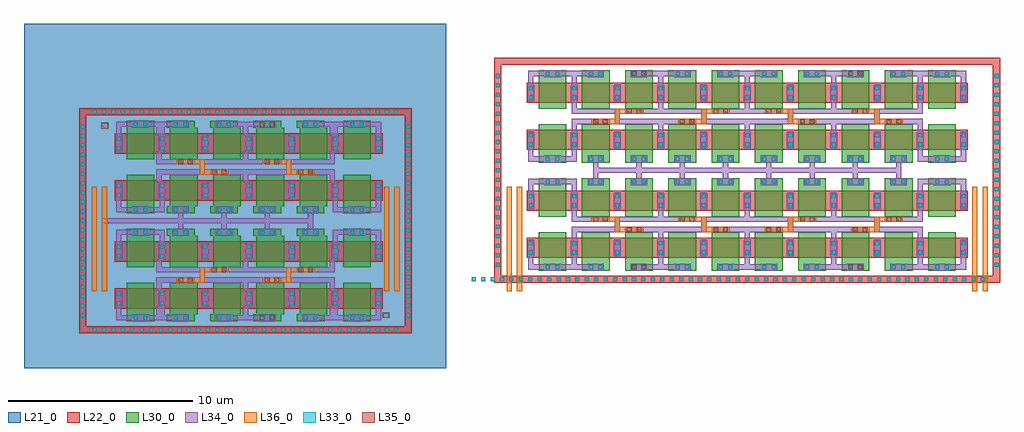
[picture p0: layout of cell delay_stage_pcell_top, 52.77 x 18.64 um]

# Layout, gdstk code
from math import pi, radians
import gdstk
lib = gdstk.Library(unit=1e-6, precision=5e-09)
def R(c, l, rs):  # rectangles x0, y0, x1, y1
    for r in rs: c.add(gdstk.rectangle(r[:2], r[2:], *l))
def A(c, l, x, y, w, h, nx, ny, dx, dy):  # array of equal rectangles
    R(c, l, [(x+i*dx, y+j*dy, x+i*dx+w, y+j*dy+h) for i in range(nx) for j in range(ny)])
L21_0 = (21, 0)
L22_0 = (22, 0)
L30_0 = (30, 0)
L33_0 = (33, 0)
L34_0 = (34, 0)
L35_0 = (35, 0)
L36_0 = (36, 0)

delay_stage_pcell_1_2 = lib.new_cell('delay_stage_pcell_1$2')
R(delay_stage_pcell_1_2, L22_0, [(0.17,0.3,0.63,1.4), (0.63,0.3,2.51,1.4), (2.51,0.3,2.97,1.4)])
R(delay_stage_pcell_1_2, L30_0, [(0.82,0,2.32,1.7)])
R(delay_stage_pcell_1_2, L33_0, [(0.29,0.485,0.51,0.705), (2.63,0.485,2.85,0.705), (0.29,0.995,0.51,1.215), (2.63,0.995,2.85,1.215)])
R(delay_stage_pcell_1_2, L34_0, [(0.21,0.405,0.59,1.295), (2.55,0.405,2.93,1.295)])

delay_stage_pcell_4 = lib.new_cell('delay_stage_pcell_4')
delay_stage_pcell_4.add(gdstk.Reference(delay_stage_pcell_1_2, (-0.17,0)))
delay_stage_pcell_4.add(gdstk.Reference(delay_stage_pcell_1_2, (2.17,0)))
delay_stage_pcell_4.add(gdstk.Reference(delay_stage_pcell_1_2, (4.51,0)))
delay_stage_pcell_4.add(gdstk.Reference(delay_stage_pcell_1_2, (6.85,0)))

delay_stage_pcell_1_1 = lib.new_cell('delay_stage_pcell_1$1')
R(delay_stage_pcell_1_1, L22_0, [(0.17,0.3,0.63,1.4), (0.63,0.3,2.51,1.4), (2.51,0.3,2.97,1.4)])
R(delay_stage_pcell_1_1, L30_0, [(0.82,0,2.32,1.7)])
R(delay_stage_pcell_1_1, L33_0, [(0.29,0.485,0.51,0.705), (2.63,0.485,2.85,0.705), (0.29,0.995,0.51,1.215), (2.63,0.995,2.85,1.215)])
R(delay_stage_pcell_1_1, L34_0, [(0.21,0.405,0.59,1.295), (2.55,0.405,2.93,1.295)])

delay_stage_pcell_1_4 = lib.new_cell('delay_stage_pcell_1_4')
R(delay_stage_pcell_1_4, L30_0, [(0.65,0,2.15,0.38), (0.65,4.62,2.15,5), (0.65,5.84,2.15,6.22), (0.65,10.46,2.15,10.84)])
R(delay_stage_pcell_1_4, L33_0, [(1.035,0.08,1.255,0.3), (1.545,0.08,1.765,0.3), (1.035,4.7,1.255,4.92), (1.545,4.7,1.765,4.92), (1.035,5.92,1.255,6.14), (1.545,5.92,1.765,6.14), (1.035,10.54,1.255,10.76), (1.545,10.54,1.765,10.76)])
R(delay_stage_pcell_1_4, L34_0, [(0.955,0,1.845,0.38), (0.955,4.62,1.845,5), (0.955,5.84,1.845,6.22), (0.955,10.46,1.845,10.84)])
delay_stage_pcell_1_4.add(gdstk.FlexPath([(2.57,10.055),(2.57,10.65),(0.23,10.65),(0.23,10.055)], 0.28, ends="flush", simple_path=True, layer=34, datatype=0))  # L34_0
delay_stage_pcell_1_4.add(gdstk.FlexPath([(2.57,0.785),(2.57,0.19),(0.23,0.19),(0.23,0.785)], 0.28, ends="flush", simple_path=True, layer=34, datatype=0))  # L34_0
delay_stage_pcell_1_4.add(gdstk.FlexPath([(2.57,6.625),(2.57,6.03),(0.23,6.03),(0.23,6.625)], 0.28, ends="flush", simple_path=True, layer=34, datatype=0))  # L34_0
delay_stage_pcell_1_4.add(gdstk.FlexPath([(2.57,4.215),(2.57,4.81),(0.23,4.81),(0.23,4.215)], 0.28, ends="flush", simple_path=True, layer=34, datatype=0))  # L34_0
delay_stage_pcell_1_4.add(gdstk.Reference(delay_stage_pcell_1_1, (-0.17,6.22)))
delay_stage_pcell_1_4.add(gdstk.Reference(delay_stage_pcell_1_1, (-0.17,0.38)))
delay_stage_pcell_1_4.add(gdstk.Reference(delay_stage_pcell_1_1, (-0.17,2.92)))
delay_stage_pcell_1_4.add(gdstk.Reference(delay_stage_pcell_1_1, (-0.17,8.76)))

delay_stage_pcell_1_2_1 = lib.new_cell('delay_stage_pcell_1$2$1')
R(delay_stage_pcell_1_2_1, L22_0, [(0.17,0.3,0.63,1.4), (0.63,0.3,2.51,1.4), (2.51,0.3,2.97,1.4)])
R(delay_stage_pcell_1_2_1, L30_0, [(0.82,0,2.32,1.7)])
R(delay_stage_pcell_1_2_1, L33_0, [(0.29,0.485,0.51,0.705), (2.63,0.485,2.85,0.705), (0.29,0.995,0.51,1.215), (2.63,0.995,2.85,1.215)])
R(delay_stage_pcell_1_2_1, L34_0, [(0.21,0.405,0.59,1.295), (2.55,0.405,2.93,1.295)])

delay_stage_pcell_4_2 = lib.new_cell('delay_stage_pcell_4$2')
delay_stage_pcell_4_2.add(gdstk.Reference(delay_stage_pcell_1_2_1, (-0.17,0)))
delay_stage_pcell_4_2.add(gdstk.Reference(delay_stage_pcell_1_2_1, (2.17,0)))
delay_stage_pcell_4_2.add(gdstk.Reference(delay_stage_pcell_1_2_1, (4.51,0)))
delay_stage_pcell_4_2.add(gdstk.Reference(delay_stage_pcell_1_2_1, (6.85,0)))

delay_stage_pcell_4_4 = lib.new_cell('delay_stage_pcell_4_4')
R(delay_stage_pcell_4_4, L30_0, [(0.65,0,2.15,0.38), (0.65,0,2.15,0.38), (2.99,0,4.49,0.38), (2.99,0,4.49,0.38), (5.33,0,6.83,0.38), (5.33,0,6.83,0.38), (7.67,0,9.17,0.38), (7.67,0,9.17,0.38), (0.65,4.62,2.15,5), (0.65,4.62,2.15,5), (2.99,4.62,4.49,5), (2.99,4.62,4.49,5), (5.33,4.62,6.83,5), (5.33,4.62,6.83,5), (7.67,4.62,9.17,5), (7.67,4.62,9.17,5), (0.65,5.84,2.15,6.22), (0.65,5.84,2.15,6.22), (2.99,5.84,4.49,6.22), (2.99,5.84,4.49,6.22), (5.33,5.84,6.83,6.22), (5.33,5.84,6.83,6.22), (7.67,5.84,9.17,6.22), (7.67,5.84,9.17,6.22), (0.65,10.46,2.15,10.84), (0.65,10.46,2.15,10.84), (2.99,10.46,4.49,10.84), (2.99,10.46,4.49,10.84), (5.33,10.46,6.83,10.84), (5.33,10.46,6.83,10.84), (7.67,10.46,9.17,10.84), (7.67,10.46,9.17,10.84)])
R(delay_stage_pcell_4_4, L33_0, [(1.035,0.08,1.255,0.3), (1.035,0.08,1.255,0.3), (1.545,0.08,1.765,0.3), (1.545,0.08,1.765,0.3), (3.375,0.08,3.595,0.3), (3.375,0.08,3.595,0.3), (3.885,0.08,4.105,0.3), (3.885,0.08,4.105,0.3), (5.715,0.08,5.935,0.3), (5.715,0.08,5.935,0.3), (6.225,0.08,6.445,0.3), (6.225,0.08,6.445,0.3), (8.055,0.08,8.275,0.3), (8.055,0.08,8.275,0.3), (8.565,0.08,8.785,0.3), (8.565,0.08,8.785,0.3), (1.035,4.7,1.255,4.92), (1.035,4.7,1.255,4.92), (1.545,4.7,1.765,4.92), (1.545,4.7,1.765,4.92), (3.375,4.7,3.595,4.92), (3.375,4.7,3.595,4.92), (3.885,4.7,4.105,4.92), (3.885,4.7,4.105,4.92), (5.715,4.7,5.935,4.92), (5.715,4.7,5.935,4.92), (6.225,4.7,6.445,4.92), (6.225,4.7,6.445,4.92), (8.055,4.7,8.275,4.92), (8.055,4.7,8.275,4.92), (8.565,4.7,8.785,4.92), (8.565,4.7,8.785,4.92), (1.035,5.92,1.255,6.14), (1.035,5.92,1.255,6.14), (1.545,5.92,1.765,6.14), (1.545,5.92,1.765,6.14), (3.375,5.92,3.595,6.14), (3.375,5.92,3.595,6.14), (3.885,5.92,4.105,6.14), (3.885,5.92,4.105,6.14), (5.715,5.92,5.935,6.14), (5.715,5.92,5.935,6.14), (6.225,5.92,6.445,6.14), (6.225,5.92,6.445,6.14), (8.055,5.92,8.275,6.14), (8.055,5.92,8.275,6.14), (8.565,5.92,8.785,6.14), (8.565,5.92,8.785,6.14), (1.035,10.54,1.255,10.76), (1.035,10.54,1.255,10.76), (1.545,10.54,1.765,10.76), (1.545,10.54,1.765,10.76), (3.375,10.54,3.595,10.76), (3.375,10.54,3.595,10.76), (3.885,10.54,4.105,10.76), (3.885,10.54,4.105,10.76), (5.715,10.54,5.935,10.76), (5.715,10.54,5.935,10.76), (6.225,10.54,6.445,10.76), (6.225,10.54,6.445,10.76), (8.055,10.54,8.275,10.76), (8.055,10.54,8.275,10.76), (8.565,10.54,8.785,10.76), (8.565,10.54,8.785,10.76)])
R(delay_stage_pcell_4_4, L34_0, [(0.955,0,1.845,0.38), (3.295,0,4.185,0.38), (3.295,0,4.185,0.38), (5.635,0,6.525,0.38), (5.635,0,6.525,0.38), (7.975,0,8.865,0.38), (0.955,4.62,1.845,5), (0.955,4.62,1.845,5), (3.295,4.62,4.185,5), (3.295,4.62,4.185,5), (5.635,4.62,6.525,5), (5.635,4.62,6.525,5), (7.975,4.62,8.865,5), (0.955,5.84,1.845,6.22), (0.955,5.84,1.845,6.22), (3.295,5.84,4.185,6.22), (3.295,5.84,4.185,6.22), (5.635,5.84,6.525,6.22), (5.635,5.84,6.525,6.22), (7.975,5.84,8.865,6.22), (7.975,5.84,8.865,6.22), (0.955,10.46,1.845,10.84), (3.295,10.46,4.185,10.84), (3.295,10.46,4.185,10.84), (5.635,10.46,6.525,10.84), (5.635,10.46,6.525,10.84), (7.975,10.46,8.865,10.84)])
R(delay_stage_pcell_4_4, L35_0, [(5.69,0.06,5.95,0.32), (5.69,0.06,5.95,0.32), (6.21,0.06,6.47,0.32), (6.21,0.06,6.47,0.32), (1.27,2.09,1.53,2.35), (1.27,2.09,1.53,2.35), (1.79,2.09,2.05,2.35), (1.79,2.09,2.05,2.35), (5.95,2.09,6.21,2.35), (5.95,2.09,6.21,2.35), (6.47,2.09,6.73,2.35), (6.47,2.09,6.73,2.35), (3.09,2.65,3.35,2.91), (3.09,2.65,3.35,2.91), (3.61,2.65,3.87,2.91), (3.61,2.65,3.87,2.91), (7.77,2.65,8.03,2.91), (7.77,2.65,8.03,2.91), (8.29,2.65,8.55,2.91), (8.29,2.65,8.55,2.91), (3.09,7.93,3.35,8.19), (3.09,7.93,3.35,8.19), (3.61,7.93,3.87,8.19), (3.61,7.93,3.87,8.19), (7.77,7.93,8.03,8.19), (7.77,7.93,8.03,8.19), (8.29,7.93,8.55,8.19), (8.29,7.93,8.55,8.19), (1.27,8.49,1.53,8.75), (1.27,8.49,1.53,8.75), (1.79,8.49,2.05,8.75), (1.79,8.49,2.05,8.75), (5.95,8.49,6.21,8.75), (5.95,8.49,6.21,8.75), (6.47,8.49,6.73,8.75), (6.47,8.49,6.73,8.75), (5.69,10.52,5.95,10.78), (5.69,10.52,5.95,10.78), (6.21,10.52,6.47,10.78), (6.21,10.52,6.47,10.78)])
delay_stage_pcell_4_4.add(gdstk.FlexPath([(8.56,5.42),(0.23,5.42)], 0.28, ends="flush", simple_path=True, layer=34, datatype=0))  # L34_0
delay_stage_pcell_4_4.add(gdstk.FlexPath([(4.185,10.65),(5.635,10.65)], 0.28, ends="flush", simple_path=True, layer=34, datatype=0))  # L34_0
delay_stage_pcell_4_4.add(gdstk.FlexPath([(4.91,10.055),(4.91,10.51)], 0.28, ends="flush", simple_path=True, layer=34, datatype=0))  # L34_0
delay_stage_pcell_4_4.add(gdstk.FlexPath([(0.955,10.65),(0.23,10.65),(0.23,10.055)], 0.28, ends="flush", simple_path=True, layer=34, datatype=0))  # L34_0
delay_stage_pcell_4_4.add(gdstk.FlexPath([(8.865,10.65),(9.59,10.65),(9.59,10.055)], 0.28, ends="flush", simple_path=True, layer=34, datatype=0))  # L34_0
delay_stage_pcell_4_4.add(gdstk.FlexPath([(4.185,0.19),(5.635,0.19)], 0.28, ends="flush", simple_path=True, layer=34, datatype=0))  # L34_0
delay_stage_pcell_4_4.add(gdstk.FlexPath([(4.91,0.785),(4.91,0.33)], 0.28, ends="flush", simple_path=True, layer=34, datatype=0))  # L34_0
delay_stage_pcell_4_4.add(gdstk.FlexPath([(0.955,0.19),(0.23,0.19),(0.23,0.785)], 0.28, ends="flush", simple_path=True, layer=34, datatype=0))  # L34_0
delay_stage_pcell_4_4.add(gdstk.FlexPath([(8.865,0.19),(9.59,0.19),(9.59,0.785)], 0.28, ends="flush", simple_path=True, layer=34, datatype=0))  # L34_0
delay_stage_pcell_4_4.add(gdstk.FlexPath([(9.59,1.675),(9.59,2.22),(8.65,2.22)], 0.28, ends="flush", simple_path=True, layer=34, datatype=0))  # L34_0
delay_stage_pcell_4_4.add(gdstk.FlexPath([(9.59,1.675),(9.59,2.22),(8.65,2.22)], 0.28, ends="flush", simple_path=True, layer=34, datatype=0))  # L34_0
delay_stage_pcell_4_4.add(gdstk.FlexPath([(4.91,1.675),(4.91,2.08)], 0.28, ends="flush", simple_path=True, layer=34, datatype=0))  # L34_0
delay_stage_pcell_4_4.add(gdstk.FlexPath([(4.91,1.675),(4.91,2.08)], 0.28, ends="flush", simple_path=True, layer=34, datatype=0))  # L34_0
delay_stage_pcell_4_4.add(gdstk.FlexPath([(0.23,1.675),(0.23,2.22),(1.17,2.22)], 0.28, ends="flush", simple_path=True, layer=34, datatype=0))  # L34_0
delay_stage_pcell_4_4.add(gdstk.FlexPath([(0.23,1.675),(0.23,2.22),(1.17,2.22)], 0.28, ends="flush", simple_path=True, layer=34, datatype=0))  # L34_0
delay_stage_pcell_4_4.add(gdstk.FlexPath([(8.65,2.22),(7.25,2.22),(7.25,2.78),(5.85,2.78)], 0.28, ends="flush", simple_path=True, layer=34, datatype=0))  # L34_0
delay_stage_pcell_4_4.add(gdstk.FlexPath([(8.65,2.22),(7.25,2.22),(7.25,2.78),(5.85,2.78)], 0.28, ends="flush", simple_path=True, layer=34, datatype=0))  # L34_0
delay_stage_pcell_4_4.add(gdstk.FlexPath([(6.83,2.22),(5.85,2.22)], 0.28, ends="flush", simple_path=True, layer=34, datatype=0))  # L34_0
delay_stage_pcell_4_4.add(gdstk.FlexPath([(6.83,2.22),(5.85,2.22)], 0.28, ends="flush", simple_path=True, layer=34, datatype=0))  # L34_0
delay_stage_pcell_4_4.add(gdstk.FlexPath([(3.97,2.22),(5.85,2.22)], 0.28, ends="flush", simple_path=True, layer=34, datatype=0))  # L34_0
delay_stage_pcell_4_4.add(gdstk.FlexPath([(3.97,2.22),(5.85,2.22)], 0.28, ends="flush", simple_path=True, layer=34, datatype=0))  # L34_0
delay_stage_pcell_4_4.add(gdstk.FlexPath([(3.97,2.22),(2.57,2.22),(2.57,2.78),(1.17,2.78)], 0.28, ends="flush", simple_path=True, layer=34, datatype=0))  # L34_0
delay_stage_pcell_4_4.add(gdstk.FlexPath([(3.97,2.22),(2.57,2.22),(2.57,2.78),(1.17,2.78)], 0.28, ends="flush", simple_path=True, layer=34, datatype=0))  # L34_0
delay_stage_pcell_4_4.add(gdstk.FlexPath([(2.15,2.22),(1.17,2.22)], 0.28, ends="flush", simple_path=True, layer=34, datatype=0))  # L34_0
delay_stage_pcell_4_4.add(gdstk.FlexPath([(2.15,2.22),(1.17,2.22)], 0.28, ends="flush", simple_path=True, layer=34, datatype=0))  # L34_0
delay_stage_pcell_4_4.add(gdstk.FlexPath([(8.65,2.78),(7.67,2.78)], 0.28, ends="flush", simple_path=True, layer=34, datatype=0))  # L34_0
delay_stage_pcell_4_4.add(gdstk.FlexPath([(8.65,2.78),(7.67,2.78)], 0.28, ends="flush", simple_path=True, layer=34, datatype=0))  # L34_0
delay_stage_pcell_4_4.add(gdstk.FlexPath([(3.97,2.78),(5.85,2.78)], 0.28, ends="flush", simple_path=True, layer=34, datatype=0))  # L34_0
delay_stage_pcell_4_4.add(gdstk.FlexPath([(3.97,2.78),(5.85,2.78)], 0.28, ends="flush", simple_path=True, layer=34, datatype=0))  # L34_0
delay_stage_pcell_4_4.add(gdstk.FlexPath([(3.97,2.78),(2.99,2.78)], 0.28, ends="flush", simple_path=True, layer=34, datatype=0))  # L34_0
delay_stage_pcell_4_4.add(gdstk.FlexPath([(3.97,2.78),(2.99,2.78)], 0.28, ends="flush", simple_path=True, layer=34, datatype=0))  # L34_0
delay_stage_pcell_4_4.add(gdstk.FlexPath([(1.17,2.78),(0.23,2.78),(0.23,3.325)], 0.28, ends="flush", simple_path=True, layer=34, datatype=0))  # L34_0
delay_stage_pcell_4_4.add(gdstk.FlexPath([(1.17,2.78),(0.23,2.78),(0.23,3.325)], 0.28, ends="flush", simple_path=True, layer=34, datatype=0))  # L34_0
delay_stage_pcell_4_4.add(gdstk.FlexPath([(9.59,3.325),(9.59,2.78),(8.65,2.78)], 0.28, ends="flush", simple_path=True, layer=34, datatype=0))  # L34_0
delay_stage_pcell_4_4.add(gdstk.FlexPath([(9.59,3.325),(9.59,2.78),(8.65,2.78)], 0.28, ends="flush", simple_path=True, layer=34, datatype=0))  # L34_0
delay_stage_pcell_4_4.add(gdstk.FlexPath([(4.91,3.325),(4.91,2.92)], 0.28, ends="flush", simple_path=True, layer=34, datatype=0))  # L34_0
delay_stage_pcell_4_4.add(gdstk.FlexPath([(4.91,3.325),(4.91,2.92)], 0.28, ends="flush", simple_path=True, layer=34, datatype=0))  # L34_0
delay_stage_pcell_4_4.add(gdstk.FlexPath([(9.59,7.515),(9.59,8.06),(8.65,8.06)], 0.28, ends="flush", simple_path=True, layer=34, datatype=0))  # L34_0
delay_stage_pcell_4_4.add(gdstk.FlexPath([(9.59,9.165),(9.59,8.62),(8.65,8.62)], 0.28, ends="flush", simple_path=True, layer=34, datatype=0))  # L34_0
delay_stage_pcell_4_4.add(gdstk.FlexPath([(4.91,9.165),(4.91,8.76)], 0.28, ends="flush", simple_path=True, layer=34, datatype=0))  # L34_0
delay_stage_pcell_4_4.add(gdstk.FlexPath([(4.91,7.515),(4.91,7.92)], 0.28, ends="flush", simple_path=True, layer=34, datatype=0))  # L34_0
delay_stage_pcell_4_4.add(gdstk.FlexPath([(1.17,8.06),(0.23,8.06),(0.23,7.515)], 0.28, ends="flush", simple_path=True, layer=34, datatype=0))  # L34_0
delay_stage_pcell_4_4.add(gdstk.FlexPath([(0.23,9.165),(0.23,8.62),(1.17,8.62)], 0.28, ends="flush", simple_path=True, layer=34, datatype=0))  # L34_0
delay_stage_pcell_4_4.add(gdstk.FlexPath([(8.65,8.62),(7.25,8.62),(7.25,8.06),(5.85,8.06)], 0.28, ends="flush", simple_path=True, layer=34, datatype=0))  # L34_0
delay_stage_pcell_4_4.add(gdstk.FlexPath([(3.97,8.62),(2.57,8.62),(2.57,8.06),(1.17,8.06)], 0.28, ends="flush", simple_path=True, layer=34, datatype=0))  # L34_0
delay_stage_pcell_4_4.add(gdstk.FlexPath([(2.15,8.62),(1.17,8.62)], 0.28, ends="flush", simple_path=True, layer=34, datatype=0))  # L34_0
delay_stage_pcell_4_4.add(gdstk.FlexPath([(3.97,8.06),(2.99,8.06)], 0.28, ends="flush", simple_path=True, layer=34, datatype=0))  # L34_0
delay_stage_pcell_4_4.add(gdstk.FlexPath([(8.65,8.06),(7.67,8.06)], 0.28, ends="flush", simple_path=True, layer=34, datatype=0))  # L34_0
delay_stage_pcell_4_4.add(gdstk.FlexPath([(6.83,8.62),(5.85,8.62)], 0.28, ends="flush", simple_path=True, layer=34, datatype=0))  # L34_0
delay_stage_pcell_4_4.add(gdstk.FlexPath([(3.97,8.62),(5.85,8.62)], 0.28, ends="flush", simple_path=True, layer=34, datatype=0))  # L34_0
delay_stage_pcell_4_4.add(gdstk.FlexPath([(3.97,8.06),(5.85,8.06)], 0.28, ends="flush", simple_path=True, layer=34, datatype=0))  # L34_0
delay_stage_pcell_4_4.add(gdstk.FlexPath([(3.97,8.06),(5.85,8.06)], 0.28, ends="flush", simple_path=True, layer=34, datatype=0))  # L34_0
delay_stage_pcell_4_4.add(gdstk.FlexPath([(3.97,8.62),(5.85,8.62)], 0.28, ends="flush", simple_path=True, layer=34, datatype=0))  # L34_0
delay_stage_pcell_4_4.add(gdstk.FlexPath([(6.83,8.62),(5.85,8.62)], 0.28, ends="flush", simple_path=True, layer=34, datatype=0))  # L34_0
delay_stage_pcell_4_4.add(gdstk.FlexPath([(8.65,8.06),(7.67,8.06)], 0.28, ends="flush", simple_path=True, layer=34, datatype=0))  # L34_0
delay_stage_pcell_4_4.add(gdstk.FlexPath([(3.97,8.06),(2.99,8.06)], 0.28, ends="flush", simple_path=True, layer=34, datatype=0))  # L34_0
delay_stage_pcell_4_4.add(gdstk.FlexPath([(2.15,8.62),(1.17,8.62)], 0.28, ends="flush", simple_path=True, layer=34, datatype=0))  # L34_0
delay_stage_pcell_4_4.add(gdstk.FlexPath([(3.97,8.62),(2.57,8.62),(2.57,8.06),(1.17,8.06)], 0.28, ends="flush", simple_path=True, layer=34, datatype=0))  # L34_0
delay_stage_pcell_4_4.add(gdstk.FlexPath([(8.65,8.62),(7.25,8.62),(7.25,8.06),(5.85,8.06)], 0.28, ends="flush", simple_path=True, layer=34, datatype=0))  # L34_0
delay_stage_pcell_4_4.add(gdstk.FlexPath([(0.23,9.165),(0.23,8.62),(1.17,8.62)], 0.28, ends="flush", simple_path=True, layer=34, datatype=0))  # L34_0
delay_stage_pcell_4_4.add(gdstk.FlexPath([(1.17,8.06),(0.23,8.06),(0.23,7.515)], 0.28, ends="flush", simple_path=True, layer=34, datatype=0))  # L34_0
delay_stage_pcell_4_4.add(gdstk.FlexPath([(4.91,7.515),(4.91,7.92)], 0.28, ends="flush", simple_path=True, layer=34, datatype=0))  # L34_0
delay_stage_pcell_4_4.add(gdstk.FlexPath([(4.91,9.165),(4.91,8.76)], 0.28, ends="flush", simple_path=True, layer=34, datatype=0))  # L34_0
delay_stage_pcell_4_4.add(gdstk.FlexPath([(9.59,9.165),(9.59,8.62),(8.65,8.62)], 0.28, ends="flush", simple_path=True, layer=34, datatype=0))  # L34_0
delay_stage_pcell_4_4.add(gdstk.FlexPath([(9.59,7.515),(9.59,8.06),(8.65,8.06)], 0.28, ends="flush", simple_path=True, layer=34, datatype=0))  # L34_0
delay_stage_pcell_4_4.add(gdstk.FlexPath([(8.42,5),(8.42,5.28)], 0.28, ends="flush", simple_path=True, layer=34, datatype=0))  # L34_0
delay_stage_pcell_4_4.add(gdstk.FlexPath([(8.42,5.84),(8.42,5.56)], 0.28, ends="flush", simple_path=True, layer=34, datatype=0))  # L34_0
delay_stage_pcell_4_4.add(gdstk.FlexPath([(6.08,5),(6.08,5.28)], 0.28, ends="flush", simple_path=True, layer=34, datatype=0))  # L34_0
delay_stage_pcell_4_4.add(gdstk.FlexPath([(6.08,5.84),(6.08,5.56)], 0.28, ends="flush", simple_path=True, layer=34, datatype=0))  # L34_0
delay_stage_pcell_4_4.add(gdstk.FlexPath([(3.74,5),(3.74,5.28)], 0.28, ends="flush", simple_path=True, layer=34, datatype=0))  # L34_0
delay_stage_pcell_4_4.add(gdstk.FlexPath([(3.74,5.84),(3.74,5.56)], 0.28, ends="flush", simple_path=True, layer=34, datatype=0))  # L34_0
delay_stage_pcell_4_4.add(gdstk.FlexPath([(1.4,5),(1.4,5.28)], 0.28, ends="flush", simple_path=True, layer=34, datatype=0))  # L34_0
delay_stage_pcell_4_4.add(gdstk.FlexPath([(1.4,5.84),(1.4,5.56)], 0.28, ends="flush", simple_path=True, layer=34, datatype=0))  # L34_0
delay_stage_pcell_4_4.add(gdstk.FlexPath([(8.65,2.78),(7.25,2.78),(7.25,2.22),(5.85,2.22)], 0.28, ends="flush", simple_path=True, layer=36, datatype=0))  # L36_0
delay_stage_pcell_4_4.add(gdstk.FlexPath([(8.65,2.78),(7.25,2.78),(7.25,2.22),(5.85,2.22)], 0.28, ends="flush", simple_path=True, layer=36, datatype=0))  # L36_0
delay_stage_pcell_4_4.add(gdstk.FlexPath([(3.97,2.78),(2.57,2.78),(2.57,2.22),(1.17,2.22)], 0.28, ends="flush", simple_path=True, layer=36, datatype=0))  # L36_0
delay_stage_pcell_4_4.add(gdstk.FlexPath([(3.97,2.78),(2.57,2.78),(2.57,2.22),(1.17,2.22)], 0.28, ends="flush", simple_path=True, layer=36, datatype=0))  # L36_0
delay_stage_pcell_4_4.add(gdstk.FlexPath([(3.97,8.06),(2.57,8.06),(2.57,8.62),(1.17,8.62)], 0.28, ends="flush", simple_path=True, layer=36, datatype=0))  # L36_0
delay_stage_pcell_4_4.add(gdstk.FlexPath([(8.65,8.06),(7.25,8.06),(7.25,8.62),(5.85,8.62)], 0.28, ends="flush", simple_path=True, layer=36, datatype=0))  # L36_0
delay_stage_pcell_4_4.add(gdstk.FlexPath([(8.65,8.06),(7.25,8.06),(7.25,8.62),(5.85,8.62)], 0.28, ends="flush", simple_path=True, layer=36, datatype=0))  # L36_0
delay_stage_pcell_4_4.add(gdstk.FlexPath([(3.97,8.06),(2.57,8.06),(2.57,8.62),(1.17,8.62)], 0.28, ends="flush", simple_path=True, layer=36, datatype=0))  # L36_0
delay_stage_pcell_4_4.add(gdstk.Reference(delay_stage_pcell_4_2, (9.82,7.92), rotation=pi))
delay_stage_pcell_4_4.add(gdstk.Reference(delay_stage_pcell_4_2, (9.82,2.08), rotation=pi))
delay_stage_pcell_4_4.add(gdstk.Reference(delay_stage_pcell_4_2, (9.82,8.76), rotation=pi, x_reflection=True))
delay_stage_pcell_4_4.add(gdstk.Reference(delay_stage_pcell_4_2, (9.82,2.92), rotation=pi, x_reflection=True))

delay_stage_pcell_top = lib.new_cell('delay_stage_pcell_top')
R(delay_stage_pcell_top, L21_0, [(-6.55,-2.045,16.29,16.595)])
R(delay_stage_pcell_top, L30_0, [(1.17,0.51,2.67,0.89), (1.17,0.51,2.67,0.89), (3.51,0.51,5.01,0.89), (3.51,0.51,5.01,0.89), (5.85,0.51,7.35,0.89), (5.85,0.51,7.35,0.89), (8.19,0.51,9.69,0.89), (8.19,0.51,9.69,0.89), (1.17,5.13,2.67,5.51), (1.17,5.13,2.67,5.51), (3.51,5.13,5.01,5.51), (3.51,5.13,5.01,5.51), (5.85,5.13,7.35,5.51), (5.85,5.13,7.35,5.51), (8.19,5.13,9.69,5.51), (8.19,5.13,9.69,5.51), (1.17,6.35,2.67,6.73), (1.17,6.35,2.67,6.73), (3.51,6.35,5.01,6.73), (3.51,6.35,5.01,6.73), (5.85,6.35,7.35,6.73), (5.85,6.35,7.35,6.73), (8.19,6.35,9.69,6.73), (8.19,6.35,9.69,6.73), (1.17,10.97,2.67,11.35), (1.17,10.97,2.67,11.35), (3.51,10.97,5.01,11.35), (3.51,10.97,5.01,11.35), (5.85,10.97,7.35,11.35), (5.85,10.97,7.35,11.35), (8.19,10.97,9.69,11.35), (8.19,10.97,9.69,11.35)])
A(delay_stage_pcell_top, L33_0, -2.84, -0.07, 0.22, 0.22, 33, 2, 0.51, 11.78)
A(delay_stage_pcell_top, L33_0, -3.48, 0.72, 0.22, 0.22, 1, 21, 0, 0.51)
A(delay_stage_pcell_top, L33_0, 14.12, 0.72, 0.22, 0.22, 1, 21, 0, 0.51)
A(delay_stage_pcell_top, L33_0, 17.655, 2.665, 0.22, 0.22, 55, 1, 0.51, 0)
A(delay_stage_pcell_top, L33_0, 18.965, 3.455, 0.22, 0.22, 1, 21, 0, 0.51)
A(delay_stage_pcell_top, L33_0, 45.925, 3.455, 0.22, 0.22, 1, 21, 0, 0.51)
R(delay_stage_pcell_top, L33_0, [(1.555,0.59,1.775,0.81), (1.555,0.59,1.775,0.81), (2.065,0.59,2.285,0.81), (2.065,0.59,2.285,0.81), (3.895,0.59,4.115,0.81), (3.895,0.59,4.115,0.81), (4.405,0.59,4.625,0.81), (4.405,0.59,4.625,0.81), (6.235,0.59,6.455,0.81), (6.235,0.59,6.455,0.81), (6.745,0.59,6.965,0.81), (6.745,0.59,6.965,0.81), (8.575,0.59,8.795,0.81), (8.575,0.59,8.795,0.81), (9.085,0.59,9.305,0.81), (9.085,0.59,9.305,0.81), (1.555,5.21,1.775,5.43), (1.555,5.21,1.775,5.43), (2.065,5.21,2.285,5.43), (2.065,5.21,2.285,5.43), (3.895,5.21,4.115,5.43), (3.895,5.21,4.115,5.43), (4.405,5.21,4.625,5.43), (4.405,5.21,4.625,5.43), (6.235,5.21,6.455,5.43), (6.235,5.21,6.455,5.43), (6.745,5.21,6.965,5.43), (6.745,5.21,6.965,5.43), (8.575,5.21,8.795,5.43), (8.575,5.21,8.795,5.43), (9.085,5.21,9.305,5.43), (9.085,5.21,9.305,5.43), (1.555,6.43,1.775,6.65), (1.555,6.43,1.775,6.65), (2.065,6.43,2.285,6.65), (2.065,6.43,2.285,6.65), (3.895,6.43,4.115,6.65), (3.895,6.43,4.115,6.65), (4.405,6.43,4.625,6.65), (4.405,6.43,4.625,6.65), (6.235,6.43,6.455,6.65), (6.235,6.43,6.455,6.65), (6.745,6.43,6.965,6.65), (6.745,6.43,6.965,6.65), (8.575,6.43,8.795,6.65), (8.575,6.43,8.795,6.65), (9.085,6.43,9.305,6.65), (9.085,6.43,9.305,6.65), (1.555,11.05,1.775,11.27), (1.555,11.05,1.775,11.27), (2.065,11.05,2.285,11.27), (2.065,11.05,2.285,11.27), (3.895,11.05,4.115,11.27), (3.895,11.05,4.115,11.27), (4.405,11.05,4.625,11.27), (4.405,11.05,4.625,11.27), (6.235,11.05,6.455,11.27), (6.235,11.05,6.455,11.27), (6.745,11.05,6.965,11.27), (6.745,11.05,6.965,11.27), (8.575,11.05,8.795,11.27), (8.575,11.05,8.795,11.27), (9.085,11.05,9.305,11.27), (9.085,11.05,9.305,11.27)])
R(delay_stage_pcell_top, L34_0, [(1.475,0.51,2.365,0.89), (3.815,0.51,4.705,0.89), (3.815,0.51,4.705,0.89), (6.155,0.51,7.045,0.89), (6.155,0.51,7.045,0.89), (8.495,0.51,9.385,0.89), (1.475,5.13,2.365,5.51), (1.475,5.13,2.365,5.51), (3.815,5.13,4.705,5.51), (3.815,5.13,4.705,5.51), (6.155,5.13,7.045,5.51), (6.155,5.13,7.045,5.51), (8.495,5.13,9.385,5.51), (1.475,6.35,2.365,6.73), (1.475,6.35,2.365,6.73), (3.815,6.35,4.705,6.73), (3.815,6.35,4.705,6.73), (6.155,6.35,7.045,6.73), (6.155,6.35,7.045,6.73), (8.495,6.35,9.385,6.73), (8.495,6.35,9.385,6.73), (1.475,10.97,2.365,11.35), (3.815,10.97,4.705,11.35), (3.815,10.97,4.705,11.35), (6.155,10.97,7.045,11.35), (6.155,10.97,7.045,11.35), (8.495,10.97,9.385,11.35)])
R(delay_stage_pcell_top, L35_0, [(6.21,0.57,6.47,0.83), (6.21,0.57,6.47,0.83), (6.73,0.57,6.99,0.83), (6.73,0.57,6.99,0.83), (12.85,0.69,13.21,0.95), (1.79,2.6,2.05,2.86), (1.79,2.6,2.05,2.86), (2.31,2.6,2.57,2.86), (2.31,2.6,2.57,2.86), (6.47,2.6,6.73,2.86), (6.47,2.6,6.73,2.86), (6.99,2.6,7.25,2.86), (6.99,2.6,7.25,2.86), (3.61,3.16,3.87,3.42), (3.61,3.16,3.87,3.42), (4.13,3.16,4.39,3.42), (4.13,3.16,4.39,3.42), (8.29,3.16,8.55,3.42), (8.29,3.16,8.55,3.42), (8.81,3.16,9.07,3.42), (8.81,3.16,9.07,3.42), (3.61,8.44,3.87,8.7), (3.61,8.44,3.87,8.7), (4.13,8.44,4.39,8.7), (4.13,8.44,4.39,8.7), (8.29,8.44,8.55,8.7), (8.29,8.44,8.55,8.7), (8.81,8.44,9.07,8.7), (8.81,8.44,9.07,8.7), (1.79,9,2.05,9.26), (1.79,9,2.05,9.26), (2.31,9,2.57,9.26), (2.31,9,2.57,9.26), (6.47,9,6.73,9.26), (6.47,9,6.73,9.26), (6.99,9,7.25,9.26), (6.99,9,7.25,9.26), (-2.36,10.91,-1.99,11.245), (6.21,11.03,6.47,11.29), (6.21,11.03,6.47,11.29), (6.73,11.03,6.99,11.29), (6.73,11.03,6.99,11.29)])
delay_stage_pcell_top.add(gdstk.FlexPath([(4.705,11.16),(6.155,11.16)], 0.28, ends="flush", simple_path=True, layer=34, datatype=0))  # L34_0
delay_stage_pcell_top.add(gdstk.FlexPath([(5.43,10.565),(5.43,11.02)], 0.28, ends="flush", simple_path=True, layer=34, datatype=0))  # L34_0
delay_stage_pcell_top.add(gdstk.FlexPath([(1.475,11.16),(0.75,11.16),(0.75,10.565)], 0.28, ends="flush", simple_path=True, layer=34, datatype=0))  # L34_0
delay_stage_pcell_top.add(gdstk.FlexPath([(9.385,11.16),(10.11,11.16),(10.11,10.565)], 0.28, ends="flush", simple_path=True, layer=34, datatype=0))  # L34_0
delay_stage_pcell_top.add(gdstk.FlexPath([(4.705,0.7),(6.155,0.7)], 0.28, ends="flush", simple_path=True, layer=34, datatype=0))  # L34_0
delay_stage_pcell_top.add(gdstk.FlexPath([(5.43,1.295),(5.43,0.84)], 0.28, ends="flush", simple_path=True, layer=34, datatype=0))  # L34_0
delay_stage_pcell_top.add(gdstk.FlexPath([(1.475,0.7),(0.75,0.7),(0.75,1.295)], 0.28, ends="flush", simple_path=True, layer=34, datatype=0))  # L34_0
delay_stage_pcell_top.add(gdstk.FlexPath([(9.385,0.7),(10.11,0.7),(10.11,1.295)], 0.28, ends="flush", simple_path=True, layer=34, datatype=0))  # L34_0
delay_stage_pcell_top.add(gdstk.FlexPath([(9.08,5.93),(-2.325,5.93)], 0.28, ends="flush", simple_path=True, layer=34, datatype=0))  # L34_0
delay_stage_pcell_top.add(gdstk.FlexPath([(10.11,2.185),(10.11,2.73),(9.17,2.73)], 0.28, ends="flush", simple_path=True, layer=34, datatype=0))  # L34_0
delay_stage_pcell_top.add(gdstk.FlexPath([(10.11,2.185),(10.11,2.73),(9.17,2.73)], 0.28, ends="flush", simple_path=True, layer=34, datatype=0))  # L34_0
delay_stage_pcell_top.add(gdstk.FlexPath([(5.43,2.185),(5.43,2.59)], 0.28, ends="flush", simple_path=True, layer=34, datatype=0))  # L34_0
delay_stage_pcell_top.add(gdstk.FlexPath([(5.43,2.185),(5.43,2.59)], 0.28, ends="flush", simple_path=True, layer=34, datatype=0))  # L34_0
delay_stage_pcell_top.add(gdstk.FlexPath([(0.75,2.185),(0.75,2.73),(1.69,2.73)], 0.28, ends="flush", simple_path=True, layer=34, datatype=0))  # L34_0
delay_stage_pcell_top.add(gdstk.FlexPath([(0.75,2.185),(0.75,2.73),(1.69,2.73)], 0.28, ends="flush", simple_path=True, layer=34, datatype=0))  # L34_0
delay_stage_pcell_top.add(gdstk.FlexPath([(9.17,2.73),(7.77,2.73),(7.77,3.29),(6.37,3.29)], 0.28, ends="flush", simple_path=True, layer=34, datatype=0))  # L34_0
delay_stage_pcell_top.add(gdstk.FlexPath([(9.17,2.73),(7.77,2.73),(7.77,3.29),(6.37,3.29)], 0.28, ends="flush", simple_path=True, layer=34, datatype=0))  # L34_0
delay_stage_pcell_top.add(gdstk.FlexPath([(7.35,2.73),(6.37,2.73)], 0.28, ends="flush", simple_path=True, layer=34, datatype=0))  # L34_0
delay_stage_pcell_top.add(gdstk.FlexPath([(7.35,2.73),(6.37,2.73)], 0.28, ends="flush", simple_path=True, layer=34, datatype=0))  # L34_0
delay_stage_pcell_top.add(gdstk.FlexPath([(4.49,2.73),(6.37,2.73)], 0.28, ends="flush", simple_path=True, layer=34, datatype=0))  # L34_0
delay_stage_pcell_top.add(gdstk.FlexPath([(4.49,2.73),(6.37,2.73)], 0.28, ends="flush", simple_path=True, layer=34, datatype=0))  # L34_0
delay_stage_pcell_top.add(gdstk.FlexPath([(4.49,2.73),(3.09,2.73),(3.09,3.29),(1.69,3.29)], 0.28, ends="flush", simple_path=True, layer=34, datatype=0))  # L34_0
delay_stage_pcell_top.add(gdstk.FlexPath([(4.49,2.73),(3.09,2.73),(3.09,3.29),(1.69,3.29)], 0.28, ends="flush", simple_path=True, layer=34, datatype=0))  # L34_0
delay_stage_pcell_top.add(gdstk.FlexPath([(2.67,2.73),(1.69,2.73)], 0.28, ends="flush", simple_path=True, layer=34, datatype=0))  # L34_0
delay_stage_pcell_top.add(gdstk.FlexPath([(2.67,2.73),(1.69,2.73)], 0.28, ends="flush", simple_path=True, layer=34, datatype=0))  # L34_0
delay_stage_pcell_top.add(gdstk.FlexPath([(9.17,3.29),(8.19,3.29)], 0.28, ends="flush", simple_path=True, layer=34, datatype=0))  # L34_0
delay_stage_pcell_top.add(gdstk.FlexPath([(9.17,3.29),(8.19,3.29)], 0.28, ends="flush", simple_path=True, layer=34, datatype=0))  # L34_0
delay_stage_pcell_top.add(gdstk.FlexPath([(4.49,3.29),(6.37,3.29)], 0.28, ends="flush", simple_path=True, layer=34, datatype=0))  # L34_0
delay_stage_pcell_top.add(gdstk.FlexPath([(4.49,3.29),(6.37,3.29)], 0.28, ends="flush", simple_path=True, layer=34, datatype=0))  # L34_0
delay_stage_pcell_top.add(gdstk.FlexPath([(4.49,3.29),(3.51,3.29)], 0.28, ends="flush", simple_path=True, layer=34, datatype=0))  # L34_0
delay_stage_pcell_top.add(gdstk.FlexPath([(4.49,3.29),(3.51,3.29)], 0.28, ends="flush", simple_path=True, layer=34, datatype=0))  # L34_0
delay_stage_pcell_top.add(gdstk.FlexPath([(1.69,3.29),(0.75,3.29),(0.75,3.835)], 0.28, ends="flush", simple_path=True, layer=34, datatype=0))  # L34_0
delay_stage_pcell_top.add(gdstk.FlexPath([(1.69,3.29),(0.75,3.29),(0.75,3.835)], 0.28, ends="flush", simple_path=True, layer=34, datatype=0))  # L34_0
delay_stage_pcell_top.add(gdstk.FlexPath([(10.11,3.835),(10.11,3.29),(9.17,3.29)], 0.28, ends="flush", simple_path=True, layer=34, datatype=0))  # L34_0
delay_stage_pcell_top.add(gdstk.FlexPath([(10.11,3.835),(10.11,3.29),(9.17,3.29)], 0.28, ends="flush", simple_path=True, layer=34, datatype=0))  # L34_0
delay_stage_pcell_top.add(gdstk.FlexPath([(5.43,3.835),(5.43,3.43)], 0.28, ends="flush", simple_path=True, layer=34, datatype=0))  # L34_0
delay_stage_pcell_top.add(gdstk.FlexPath([(5.43,3.835),(5.43,3.43)], 0.28, ends="flush", simple_path=True, layer=34, datatype=0))  # L34_0
delay_stage_pcell_top.add(gdstk.FlexPath([(10.11,8.025),(10.11,8.57),(9.17,8.57)], 0.28, ends="flush", simple_path=True, layer=34, datatype=0))  # L34_0
delay_stage_pcell_top.add(gdstk.FlexPath([(10.11,9.675),(10.11,9.13),(9.17,9.13)], 0.28, ends="flush", simple_path=True, layer=34, datatype=0))  # L34_0
delay_stage_pcell_top.add(gdstk.FlexPath([(5.43,9.675),(5.43,9.27)], 0.28, ends="flush", simple_path=True, layer=34, datatype=0))  # L34_0
delay_stage_pcell_top.add(gdstk.FlexPath([(5.43,8.025),(5.43,8.43)], 0.28, ends="flush", simple_path=True, layer=34, datatype=0))  # L34_0
delay_stage_pcell_top.add(gdstk.FlexPath([(1.69,8.57),(0.75,8.57),(0.75,8.025)], 0.28, ends="flush", simple_path=True, layer=34, datatype=0))  # L34_0
delay_stage_pcell_top.add(gdstk.FlexPath([(0.75,9.675),(0.75,9.13),(1.69,9.13)], 0.28, ends="flush", simple_path=True, layer=34, datatype=0))  # L34_0
delay_stage_pcell_top.add(gdstk.FlexPath([(9.17,9.13),(7.77,9.13),(7.77,8.57),(6.37,8.57)], 0.28, ends="flush", simple_path=True, layer=34, datatype=0))  # L34_0
delay_stage_pcell_top.add(gdstk.FlexPath([(4.49,9.13),(3.09,9.13),(3.09,8.57),(1.69,8.57)], 0.28, ends="flush", simple_path=True, layer=34, datatype=0))  # L34_0
delay_stage_pcell_top.add(gdstk.FlexPath([(2.67,9.13),(1.69,9.13)], 0.28, ends="flush", simple_path=True, layer=34, datatype=0))  # L34_0
delay_stage_pcell_top.add(gdstk.FlexPath([(4.49,8.57),(3.51,8.57)], 0.28, ends="flush", simple_path=True, layer=34, datatype=0))  # L34_0
delay_stage_pcell_top.add(gdstk.FlexPath([(9.17,8.57),(8.19,8.57)], 0.28, ends="flush", simple_path=True, layer=34, datatype=0))  # L34_0
delay_stage_pcell_top.add(gdstk.FlexPath([(7.35,9.13),(6.37,9.13)], 0.28, ends="flush", simple_path=True, layer=34, datatype=0))  # L34_0
delay_stage_pcell_top.add(gdstk.FlexPath([(4.49,9.13),(6.37,9.13)], 0.28, ends="flush", simple_path=True, layer=34, datatype=0))  # L34_0
delay_stage_pcell_top.add(gdstk.FlexPath([(4.49,8.57),(6.37,8.57)], 0.28, ends="flush", simple_path=True, layer=34, datatype=0))  # L34_0
delay_stage_pcell_top.add(gdstk.FlexPath([(4.49,8.57),(6.37,8.57)], 0.28, ends="flush", simple_path=True, layer=34, datatype=0))  # L34_0
delay_stage_pcell_top.add(gdstk.FlexPath([(4.49,9.13),(6.37,9.13)], 0.28, ends="flush", simple_path=True, layer=34, datatype=0))  # L34_0
delay_stage_pcell_top.add(gdstk.FlexPath([(7.35,9.13),(6.37,9.13)], 0.28, ends="flush", simple_path=True, layer=34, datatype=0))  # L34_0
delay_stage_pcell_top.add(gdstk.FlexPath([(9.17,8.57),(8.19,8.57)], 0.28, ends="flush", simple_path=True, layer=34, datatype=0))  # L34_0
delay_stage_pcell_top.add(gdstk.FlexPath([(4.49,8.57),(3.51,8.57)], 0.28, ends="flush", simple_path=True, layer=34, datatype=0))  # L34_0
delay_stage_pcell_top.add(gdstk.FlexPath([(2.67,9.13),(1.69,9.13)], 0.28, ends="flush", simple_path=True, layer=34, datatype=0))  # L34_0
delay_stage_pcell_top.add(gdstk.FlexPath([(4.49,9.13),(3.09,9.13),(3.09,8.57),(1.69,8.57)], 0.28, ends="flush", simple_path=True, layer=34, datatype=0))  # L34_0
delay_stage_pcell_top.add(gdstk.FlexPath([(9.17,9.13),(7.77,9.13),(7.77,8.57),(6.37,8.57)], 0.28, ends="flush", simple_path=True, layer=34, datatype=0))  # L34_0
delay_stage_pcell_top.add(gdstk.FlexPath([(0.75,9.675),(0.75,9.13),(1.69,9.13)], 0.28, ends="flush", simple_path=True, layer=34, datatype=0))  # L34_0
delay_stage_pcell_top.add(gdstk.FlexPath([(1.69,8.57),(0.75,8.57),(0.75,8.025)], 0.28, ends="flush", simple_path=True, layer=34, datatype=0))  # L34_0
delay_stage_pcell_top.add(gdstk.FlexPath([(5.43,8.025),(5.43,8.43)], 0.28, ends="flush", simple_path=True, layer=34, datatype=0))  # L34_0
delay_stage_pcell_top.add(gdstk.FlexPath([(5.43,9.675),(5.43,9.27)], 0.28, ends="flush", simple_path=True, layer=34, datatype=0))  # L34_0
delay_stage_pcell_top.add(gdstk.FlexPath([(10.11,9.675),(10.11,9.13),(9.17,9.13)], 0.28, ends="flush", simple_path=True, layer=34, datatype=0))  # L34_0
delay_stage_pcell_top.add(gdstk.FlexPath([(10.11,8.025),(10.11,8.57),(9.17,8.57)], 0.28, ends="flush", simple_path=True, layer=34, datatype=0))  # L34_0
delay_stage_pcell_top.add(gdstk.FlexPath([(8.94,5.51),(8.94,5.79)], 0.28, ends="flush", simple_path=True, layer=34, datatype=0))  # L34_0
delay_stage_pcell_top.add(gdstk.FlexPath([(8.94,6.35),(8.94,6.07)], 0.28, ends="flush", simple_path=True, layer=34, datatype=0))  # L34_0
delay_stage_pcell_top.add(gdstk.FlexPath([(6.6,5.51),(6.6,5.79)], 0.28, ends="flush", simple_path=True, layer=34, datatype=0))  # L34_0
delay_stage_pcell_top.add(gdstk.FlexPath([(6.6,6.35),(6.6,6.07)], 0.28, ends="flush", simple_path=True, layer=34, datatype=0))  # L34_0
delay_stage_pcell_top.add(gdstk.FlexPath([(4.26,5.51),(4.26,5.79)], 0.28, ends="flush", simple_path=True, layer=34, datatype=0))  # L34_0
delay_stage_pcell_top.add(gdstk.FlexPath([(4.26,6.35),(4.26,6.07)], 0.28, ends="flush", simple_path=True, layer=34, datatype=0))  # L34_0
delay_stage_pcell_top.add(gdstk.FlexPath([(1.92,5.51),(1.92,5.79)], 0.28, ends="flush", simple_path=True, layer=34, datatype=0))  # L34_0
delay_stage_pcell_top.add(gdstk.FlexPath([(1.92,6.35),(1.92,6.07)], 0.28, ends="flush", simple_path=True, layer=34, datatype=0))  # L34_0
delay_stage_pcell_top.add(gdstk.FlexPath([(46.035,14.745),(46.035,2.775),(19.075,2.775),(19.075,14.555),(45.845,14.555)], 0.38, ends="flush", simple_path=True, layer=22, datatype=0))  # L22_0
delay_stage_pcell_top.add(gdstk.FlexPath([(14.23,12.01),(14.23,0.04),(-3.37,0.04),(-3.37,11.82),(14.04,11.82)], 0.38, ends="flush", simple_path=True, layer=22, datatype=0))  # L22_0
delay_stage_pcell_top.add(gdstk.FlexPath([(44.865,2.125),(44.865,7.77)], 0.28, ends="flush", simple_path=True, layer=36, datatype=0))  # L36_0
delay_stage_pcell_top.add(gdstk.FlexPath([(45.425,2.125),(45.425,7.77)], 0.28, ends="flush", simple_path=True, layer=36, datatype=0))  # L36_0
delay_stage_pcell_top.add(gdstk.FlexPath([(19.685,2.125),(19.685,7.77)], 0.28, ends="flush", simple_path=True, layer=36, datatype=0))  # L36_0
delay_stage_pcell_top.add(gdstk.FlexPath([(20.245,2.125),(20.245,7.77)], 0.28, ends="flush", simple_path=True, layer=36, datatype=0))  # L36_0
delay_stage_pcell_top.add(gdstk.FlexPath([(-2.2,2.125),(-2.2,7.77)], 0.28, ends="flush", simple_path=True, layer=36, datatype=0))  # L36_0
delay_stage_pcell_top.add(gdstk.FlexPath([(9.17,3.29),(7.77,3.29),(7.77,2.73),(6.37,2.73)], 0.28, ends="flush", simple_path=True, layer=36, datatype=0))  # L36_0
delay_stage_pcell_top.add(gdstk.FlexPath([(9.17,3.29),(7.77,3.29),(7.77,2.73),(6.37,2.73)], 0.28, ends="flush", simple_path=True, layer=36, datatype=0))  # L36_0
delay_stage_pcell_top.add(gdstk.FlexPath([(4.49,3.29),(3.09,3.29),(3.09,2.73),(1.69,2.73)], 0.28, ends="flush", simple_path=True, layer=36, datatype=0))  # L36_0
delay_stage_pcell_top.add(gdstk.FlexPath([(4.49,3.29),(3.09,3.29),(3.09,2.73),(1.69,2.73)], 0.28, ends="flush", simple_path=True, layer=36, datatype=0))  # L36_0
delay_stage_pcell_top.add(gdstk.FlexPath([(4.49,8.57),(3.09,8.57),(3.09,9.13),(1.69,9.13)], 0.28, ends="flush", simple_path=True, layer=36, datatype=0))  # L36_0
delay_stage_pcell_top.add(gdstk.FlexPath([(9.17,8.57),(7.77,8.57),(7.77,9.13),(6.37,9.13)], 0.28, ends="flush", simple_path=True, layer=36, datatype=0))  # L36_0
delay_stage_pcell_top.add(gdstk.FlexPath([(9.17,8.57),(7.77,8.57),(7.77,9.13),(6.37,9.13)], 0.28, ends="flush", simple_path=True, layer=36, datatype=0))  # L36_0
delay_stage_pcell_top.add(gdstk.FlexPath([(4.49,8.57),(3.09,8.57),(3.09,9.13),(1.69,9.13)], 0.28, ends="flush", simple_path=True, layer=36, datatype=0))  # L36_0
delay_stage_pcell_top.add(gdstk.FlexPath([(13.06,2.125),(13.06,7.77)], 0.28, ends="flush", simple_path=True, layer=36, datatype=0))  # L36_0
delay_stage_pcell_top.add(gdstk.FlexPath([(13.62,2.125),(13.62,7.77)], 0.28, ends="flush", simple_path=True, layer=36, datatype=0))  # L36_0
delay_stage_pcell_top.add(gdstk.FlexPath([(-2.76,2.125),(-2.76,7.77)], 0.28, ends="flush", simple_path=True, layer=36, datatype=0))  # L36_0
delay_stage_pcell_top.add(gdstk.Reference(delay_stage_pcell_4, (10.51,3.43), rotation=pi, x_reflection=True))
delay_stage_pcell_top.add(gdstk.Reference(delay_stage_pcell_4, (10.51,2.59), rotation=pi))
delay_stage_pcell_top.add(gdstk.Reference(delay_stage_pcell_4, (10.51,8.43), rotation=pi))
delay_stage_pcell_top.add(gdstk.Reference(delay_stage_pcell_1_4, (12.85,0.51), rotation=pi, x_reflection=True))
delay_stage_pcell_top.add(gdstk.Reference(delay_stage_pcell_1_4, (1.15,0.51), rotation=pi, x_reflection=True))
delay_stage_pcell_top.add(gdstk.Reference(delay_stage_pcell_4, (10.51,9.27), rotation=pi, x_reflection=True))
delay_stage_pcell_top.add(gdstk.Reference(delay_stage_pcell_4_4, (32.785,3.245), rotation=pi, x_reflection=True))
delay_stage_pcell_top.add(gdstk.Reference(delay_stage_pcell_4_4, (32.325,3.245)))
delay_stage_pcell_top.add(gdstk.Reference(delay_stage_pcell_1_4, (44.485,3.245), rotation=pi, x_reflection=True))
delay_stage_pcell_top.add(gdstk.Reference(delay_stage_pcell_1_4, (23.425,3.245), rotation=pi, x_reflection=True))

lib.write_gds('delay_stage_pcell_top.gds')
